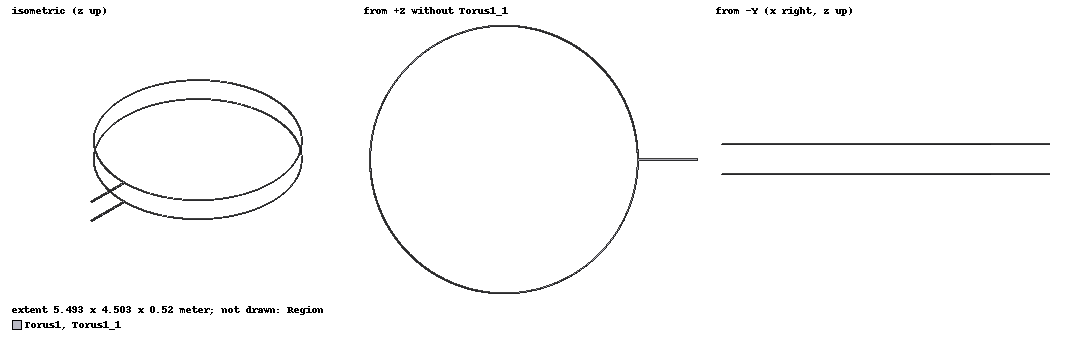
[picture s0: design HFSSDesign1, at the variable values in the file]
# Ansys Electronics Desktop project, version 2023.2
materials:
  vacuum: permittivity=1
  pec: conductivity=1e+30
  air: permittivity=1.0006 permeability=1.0000004
  copper: permeability=0.999991 conductivity=58000000
  plexiglass: permittivity=3.4 dielectric_loss_tangent=0.001

design HFSSDesign1 (HFSS, HFSS Terminal Network, model units meter)
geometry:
  Torus1 [pec] = torus(axis=Z, centre=(0meter, 0meter, 0meter), major_radius=2.241601meter, minor_radius=0.01meter)
  Cylinder1 = cylinder(axis=Y, base_centre=(0.01meter, 0.015meter, 0meter), radius=0.05meter, height=-0.03meter)
  Cylinder1.move(2.23meter, 0meter, 0meter)
  Cylinder2 = cylinder(axis=X, base_centre=(2.241398474meter, -0.015meter, 1.502918321e-07meter), radius=0.01meter, height=1meter)
  Sphere1 = sphere(centre=(2.241398474meter, -0.015meter, 1.502918321e-07meter), radius=0.01meter)
  Sphere2 = sphere(centre=(2.2413983meter, 0.015meter, 1.5088142e-07meter), radius=0.01meter)
  Cylinder3 = cylinder(axis=X, base_centre=(2.2413983meter, 0.015meter, 1.5088142e-07meter), radius=0.01meter, height=1meter)
  Torus1.subtract(Cylinder1)
  Torus1.unite(Sphere2, Sphere1, Cylinder3, Cylinder2)
  Rectangle1 = rectangle(corner=(3.2meter, -0.005meter, 0meter), x_size=0.01meter, y_size=0.01meter)
  Region [air] = region(absolute_offset=5meter on all sides)
  Torus1_1 [pec] = Torus1.duplicate_along_line(step=(0meter, 0meter, 0.5meter), total=2)
  Rectangle1_1 = Rectangle1.duplicate_along_line(step=(0meter, 0meter, 0.5meter), total=2)
  [Torus1, Rectangle1, Torus1_1, Rectangle1_1].move(0meter, 0meter, -0.25meter)
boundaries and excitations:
  Rad1: Radiation Objects=Region
  1: Lumped Port Objects=Rectangle1 LumpedPortType=Modal Modes{Mode1{IntLine{(3.205, -0.005, -0.25) -> (3.205, 0.005, -0.25)} CharImp=Zpi}} Impedance=50ohm
  2: Lumped Port Objects=Rectangle1_1 LumpedPortType=Modal Modes{Mode1{IntLine{(3.205, -0.005, 0.25) -> (3.205, 0.005, 0.25)} CharImp=Zpi}} Impedance=50ohm
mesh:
  initial mesh: GlobalSurfApproximation{CurvedSurfaceApproxChoice=UseSlider SliderMeshSettings=1}
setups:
  Setup1: HfssDriven Frequency=46MHz MaxDeltaS=0.02 MaximumPasses=6 MinimumPasses=1 MinimumConvergedPasses=1 PercentRefinement=30 BasisOrder=1 PortAccuracy=2 DrivenSolverType="Direct Solver"
    sweep Sweep: 23MHz to 69MHz, 401 points; Type=Interpolating InterpTolerance=0.5 InterpMaxSolns=250 PassivityErrorTolerance=0.0001
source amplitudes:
  1:1: 1V 0deg
  2:1: 0V 0deg
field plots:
  Mag_H1: H Field over a plane on Setup1 : LastAdaptive at Freq=0.046GHz Phase=0deg
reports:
  Terminal S Parameter Plot 1: dB(St(1,1)) vs Freq on Setup1 : Sweep; markers MX1 at x=42505353
